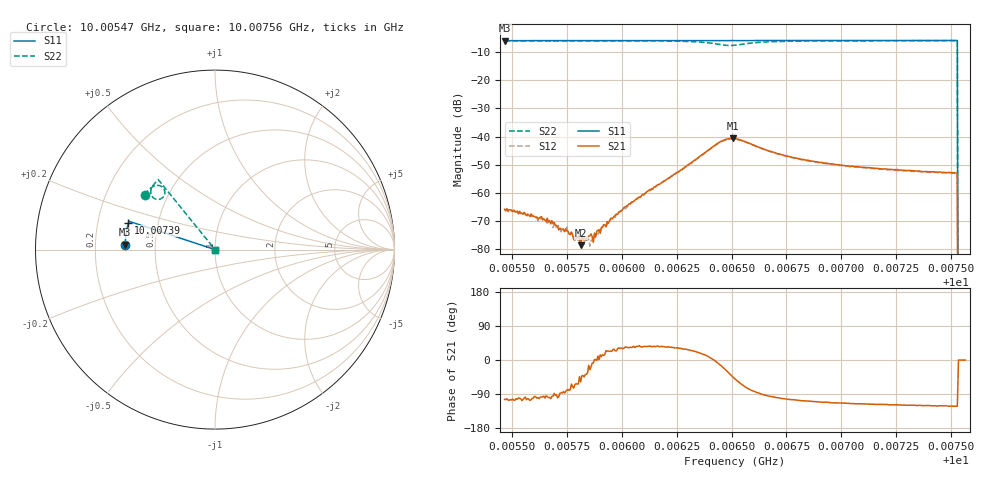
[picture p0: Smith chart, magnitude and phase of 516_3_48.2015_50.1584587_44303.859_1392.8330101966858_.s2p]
#  HZ  S  RI  R  50.00
! Rohde & Schwarz Vector Network Analyzer
! Rohde-Schwarz,ZNB20-2Port,1311601062101988,3.16
! Created: UTC 3/20/2024, 11:59:11 AM
! freq[Hz]  re:S11  im:S11  re:S21  im:S21  re:S12  im:S12  re:S22  im:S22
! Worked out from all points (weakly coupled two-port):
!   401 points, 10.00547 GHz to 10.00756 GHz, reference 50 ohm
!   highest |S21| = -40.64 dB at 10.00651 GHz (marker M1); lowest = -78.5 dB at 10.00581 GHz (marker M2)
!   lowest |S11| = -6.0 dB at 10.00547 GHz (marker M3), VSWR 3.01, Z = 16.6 + j1.2 ohm
!   |S11| at or under -10 dB: 10.00753 GHz to end of sweep
!   |S22| runs from - to -6.0 dB; largest |S21 - S12| = 0.00058
!   S11 on the Smith chart (normalised r, x): 10.00547 GHz: 0.33, +0.02; 10.00739 GHz: 0.34, +0.13; 10.00756 GHz: 1.00, +0.00
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1.0005467e10  -0.5004 0.027  -0.000124 -0.0005  -7.76e-05 -0.000475  -0.392 0.3044
1.0005671e10  -0.4999 0.0402  -5.11e-05 -0.000321  -2.12e-05 -0.000297  -0.383 0.3166
1.0005697e10  -0.5 0.0419  -1.5e-05 -0.00027  -4.84e-06 -0.00024  -0.3817 0.3182
1.000576e10  -0.4997 0.046  3.26e-05 -0.000186  5.32e-05 -0.000181  -0.3786 0.3221
1.0005792e10  -0.4996 0.0481  7.15e-05 -0.000139  5.42e-05 -0.000144  -0.3769 0.324
1.0005813e10  -0.4993 0.0495  6.36e-05 -0.000101  0.000127 -0.000112  -0.3758 0.3253
1.0005818e10  -0.4994 0.0498  0.000125 -0.000113  0.00012 -0.000129  -0.3756 0.3256
1.0005865e10  -0.4992 0.053  0.000168 -2.47e-05  0.000146 -2.95e-05  -0.3729 0.3287
1.0005876e10  -0.4992 0.0536  0.000196 3.35e-06  0.000157 -9.14e-06  -0.3723 0.3293
1.0005907e10  -0.499 0.0556  0.000243 3.78e-05  0.000231 5.32e-05  -0.3705 0.3314
1.0005986e10  -0.4984 0.0608  0.000386 0.000243  0.00038 0.00025  -0.3654 0.3366
1.000617e10  -0.4972 0.0726  0.00116 0.000825  0.00111 0.000881  -0.3491 0.3496
1.0006442e10  -0.4942 0.0901  0.0077 -0.00137  0.00763 -0.000914  -0.2807 0.3275
1.0006505e10  -0.4937 0.0935  0.00662 -0.00651  0.00688 -0.00599  -0.2995 0.2842
1.0006516e10  -0.4936 0.0941  0.0059 -0.00706  0.00618 -0.00659  -0.3072 0.2808
1.0006705e10  -0.4921 0.1062  -0.000797 -0.00499  -0.000564 -0.00498  -0.3581 0.3241
1.0006867e10  -0.4902 0.1166  -0.00121 -0.00347  -0.00103 -0.00346  -0.3512 0.3471
1.0007219e10  -0.4853 0.1388  -0.00124 -0.00232  -0.00111 -0.00233  -0.3321 0.3734
1.0007392e10  -0.4824 0.1497  -0.0012 -0.00207  -0.00109 -0.00208  -0.3231 0.383
1.0007518e10  -0.4801 0.1576  -0.00119 -0.00193  -0.00112 -0.00196  -0.3165 0.3893
1.0007544e10  0 0  0 0  0 0  0 0
1.0007565e10  0 0  0 0  0 0  0 0
